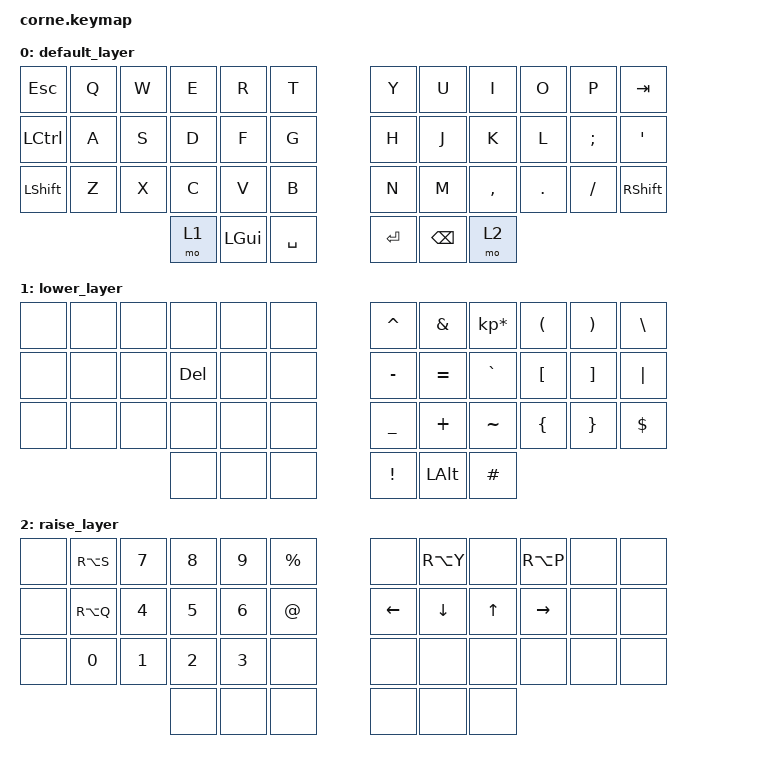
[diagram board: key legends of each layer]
/*
 * Copyright (c) 2020 The ZMK Contributors
 *
 * SPDX-License-Identifier: MIT
 */

#include <behaviors.dtsi>
#include <dt-bindings/zmk/keys.h>
#include <dt-bindings/zmk/bt.h>

/ {
        keymap {
                compatible = "zmk,keymap";

                default_layer {
// -----------------------------------------------------------------------------------------
// |  ESC |  Q  |  W  |  E  |  R  |  T  |            |  Y  |  U   |  I   |  O  |  P  | TAB  |
// | CTRL |  A  |  S  |  D  |  F  |  G  |            |  H  |  J   |  K   |  L  |  ;  |  '   |
// | SHFT |  Z  |  X  |  C  |  V  |  B  |            |  N  |  M   |  ,   |  .  |  /  | SHFT |
//                    | LWR | ALT | SPC |            | ENT | BKSP | RSE  |
                        bindings = <
   &kp ESC    &kp Q &kp W &kp E &kp R    &kp T       &kp Y   &kp U    &kp I     &kp O   &kp P    &kp TAB
   &kp LCTRL  &kp A &kp S &kp D &kp F    &kp G       &kp H   &kp J    &kp K     &kp L   &kp SEMI &kp SQT
   &kp LSHIFT &kp Z &kp X &kp C &kp V    &kp B       &kp N   &kp M    &kp COMMA &kp DOT &kp FSLH &kp RSHIFT
                          &mo 1 &kp LGUI &kp SPACE   &kp RET &kp BSPC &mo 2
                        >;
                };
                lower_layer {
// -----------------------------------------------------------------------------------------
// |   |   |   |     |   |   |                         |  ^  |  &   |  *  |  (  |  )  |   \   |
// |   |   |   | DEL |   |   |                         |  -  |  =   |  `  |  [  |  ]  |  "|"  |
// |   |   |   |     |   |   |                         |  _  |  +   |  ~  |  {  |  }  |   $   |
//             |     |   |   |                         |  !  |  ALT |  #  |
                        bindings = <
   &none &none &none &none   &none &none                &kp CARET &kp AMPS     &kp KP_MULTIPLY &kp LPAR &kp RPAR &kp BSLH
   &none &none &none &kp DEL &none &none                &kp MINUS &kp EQUAL    &kp GRAVE       &kp LBKT &kp RBKT &kp PIPE
   &none &none &none &none   &none &none                &kp UNDER &kp PLUS     &kp TILDE       &kp LBRC &kp RBRC &kp DLLR
                     &none   &none &none                &kp EXCL  &kp LEFT_ALT &kp HASH
                        >;
                };

                raise_layer {
// -----------------------------------------------------------------------------------------
// |   | ß | 7 | 8 | 9 | % |                    |     |  ü  |     |  ö  | | |
// |   | ä | 4 | 5 | 6 | @ |                    | LFT | DWN | UP  | RGT | | |
// |   | 0 | 1 | 2 | 3 |   |                    |     |     |     |     | | |
//             |   |   |   |                    |     |     |     |
                        bindings = <
   &none &kp RA(S) &kp N7 &kp N8 &kp N9 &kp PRCNT  &none    &kp RA(Y) &none  &kp RA(P) &none &none
   &none &kp RA(Q) &kp N4 &kp N5 &kp N6 &kp AT     &kp LEFT &kp DOWN  &kp UP &kp RIGHT &none &none
   &none &kp N0    &kp N1 &kp N2 &kp N3 &none      &none    &none     &none  &none     &none &none
                          &none  &none  &none      &none    &none     &none
                        >;
                };
        };
};
